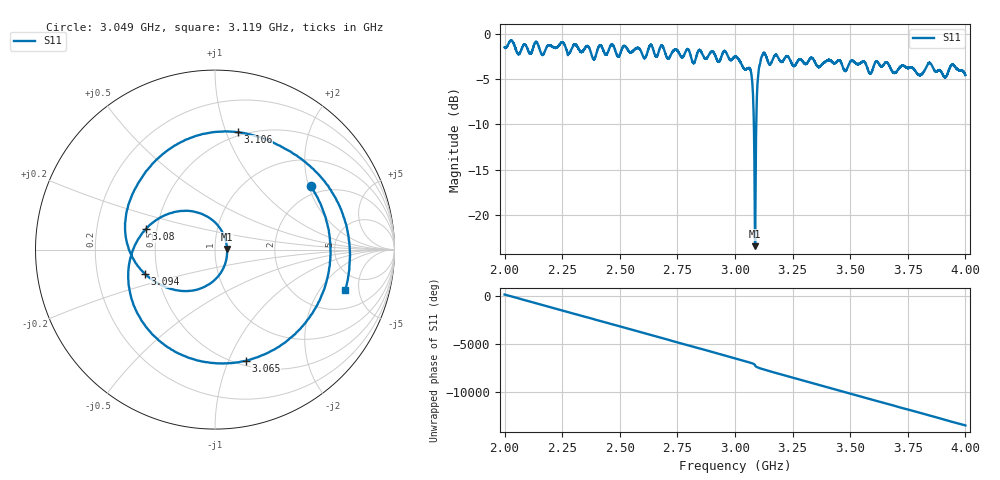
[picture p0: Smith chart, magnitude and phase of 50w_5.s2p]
!Agilent Technologies,E8362B,MY43021131,A.07.50.67
!Agilent E8362B: A.07.50.67
!Date: Thursday, March 14, 2024 14:29:09
!Correction: S11(Off)
!S21(Off)
!S12(Off)
!S22(Off)
!S2P File: Measurements: S11, S21, S12, S22:
# Hz S  RI  R 50
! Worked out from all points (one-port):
!   20001 points, 2 GHz to 4 GHz, reference 50 ohm
!   lowest |S11| = -23.4 dB at 3.087 GHz (marker M1), VSWR 1.14, Z = 57.2 + j0.403 ohm
!   |S11| at or under -10 dB: 3.081889 GHz to 3.092187 GHz (10.3 MHz wide, 0.334 % of centre)
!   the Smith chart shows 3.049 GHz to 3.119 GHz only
!   S11 on the Smith chart (normalised r, x): 3.049 GHz: 1.74, +2.06; 3.065 GHz: 0.55, -1.16; 3.08 GHz: 0.43, +0.12; 3.094 GHz: 0.43, -0.14; 3.106 GHz: 0.47, +1.10; 3.119 GHz: 3.35, -3.59
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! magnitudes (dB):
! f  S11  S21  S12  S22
! 2 GHz  -1.5  -  -  -
! 2.249 GHz  -0.9  -  -  -
! 2.333 GHz  -2.0  -  -  -
! 2.667 GHz  -2.2  -  -  -
! 3 GHz  -2.5  -  -  -
! 3.049 GHz  -3.9  -  -  -
! 3.065 GHz  -3.8  -  -  -
! 3.073 GHz  -4.9  -  -  -
! 3.08 GHz  -7.9  -  -  -
! 3.087 GHz  -23.4  -  -  -
! 3.094 GHz  -7.7  -  -  -
! 3.1 GHz  -4.8  -  -  -
! 3.106 GHz  -3.5  -  -  -
! 3.119 GHz  -2.4  -  -  -
! 3.256 GHz  -3.5  -  -  -
! 3.333 GHz  -2.6  -  -  -
! 3.478 GHz  -4.1  -  -  -
! 3.557 GHz  -3.0  -  -  -
! 3.587 GHz  -4.4  -  -  -
! 3.614 GHz  -3.0  -  -  -
! 3.667 GHz  -3.4  -  -  -
! 4 GHz  -4.5  -  -  -
